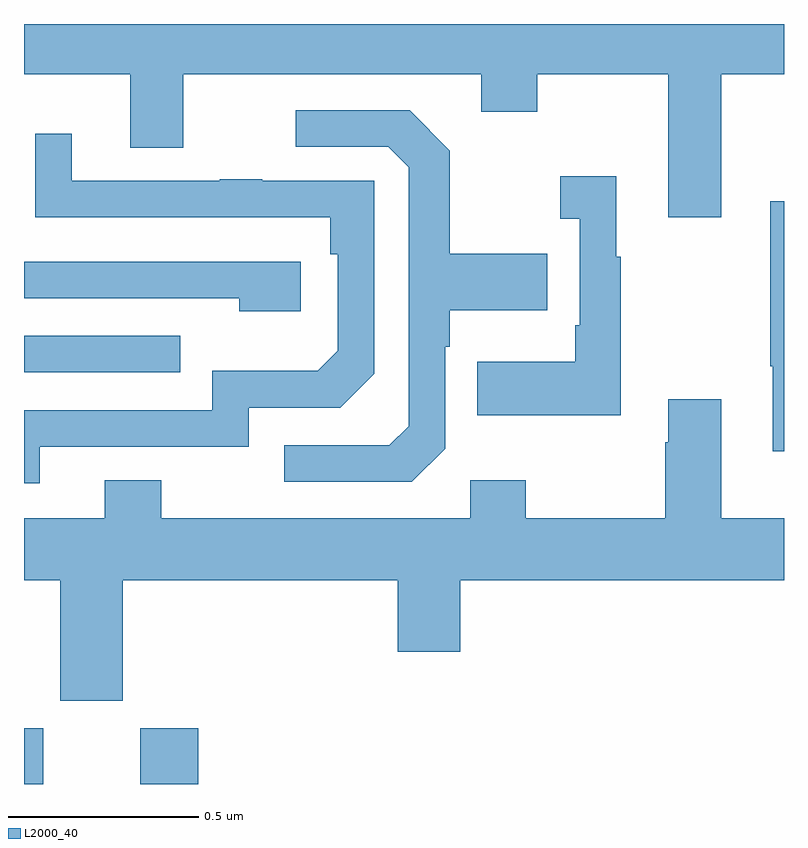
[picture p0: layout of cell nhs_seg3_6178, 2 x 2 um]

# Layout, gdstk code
import gdstk
lib = gdstk.Library(unit=1e-6, precision=1e-09)
def R(c, l, rs):  # rectangles x0, y0, x1, y1
    for r in rs: c.add(gdstk.rectangle(r[:2], r[2:], *l))
def P(c, l, *ps):  # polygons
    for p in ps: c.add(gdstk.Polygon(p, *l))
L2000_40 = (2000, 40)

nhs_seg3_6178 = lib.new_cell('nhs_seg3_6178')
R(nhs_seg3_6178, L2000_40, [(188,680.4,188.05,680.547), (188.306,680.4,188.459,680.547), (188,681.483,188.411,681.579)])
P(nhs_seg3_6178, L2000_40, [(189.835,682.268),(190,682.268),(190,682.4),(188,682.4),(188,682.268),(188.279,682.268),(188.279,682.074),(188.419,682.074),(188.419,682.268),(189.203,682.268),(189.203,682.169),(189.351,682.169),(189.351,682.268),(189.695,682.268),(189.695,681.891),(189.835,681.891)],
  [(189.108,681.282),(189.108,681.551),(189.121,681.551),(189.121,681.647),(189.377,681.647),(189.377,681.795),(189.121,681.795),(189.121,682.067),(189.015,682.173),(188.715,682.173),(188.715,682.077),(188.958,682.077),(189.012,682.023),(189.012,681.342),(188.961,681.291),(188.685,681.291),(188.685,681.195),(189.021,681.195)],
  [(188.041,681.288),(188.592,681.288),(188.592,681.39),(188.832,681.39),(188.922,681.48),(188.922,681.987),(188.627,681.987),(188.627,681.992),(188.515,681.992),(188.515,681.987),(188.125,681.987),(188.125,682.111),(188.029,682.111),(188.029,681.892),(188.131,681.892),(188.131,681.891),(188.806,681.891),(188.806,681.794),(188.826,681.794),(188.826,681.54),(188.773,681.487),(188.496,681.487),(188.496,681.384),(188,681.384),(188,681.192),(188.041,681.192)],
  [(189.571,681.787),(189.559,681.787),(189.559,682),(189.411,682),(189.411,681.887),(189.462,681.887),(189.462,681.607),(189.45,681.607),(189.45,681.511),(189.193,681.511),(189.193,681.371),(189.571,681.371)],
  [(190,681.934),(189.964,681.934),(189.964,681.499),(189.971,681.499),(189.971,681.276),(190,681.276)],
  [(188.728,681.774),(188,681.774),(188,681.678),(188.567,681.678),(188.567,681.644),(188.728,681.644)],
  [(188.26,680.936),(188.984,680.936),(188.984,680.748),(189.148,680.748),(189.148,680.936),(190,680.936),(190,681.1),(189.835,681.1),(189.835,681.412),(189.695,681.412),(189.695,681.299),(189.688,681.299),(189.688,681.1),(189.321,681.1),(189.321,681.199),(189.174,681.199),(189.174,681.1),(188.361,681.1),(188.361,681.199),(188.213,681.199),(188.213,681.1),(188,681.1),(188,680.936),(188.096,680.936),(188.096,680.619),(188.26,680.619)])

lib.write_gds('nhs_seg3_6178.gds')
